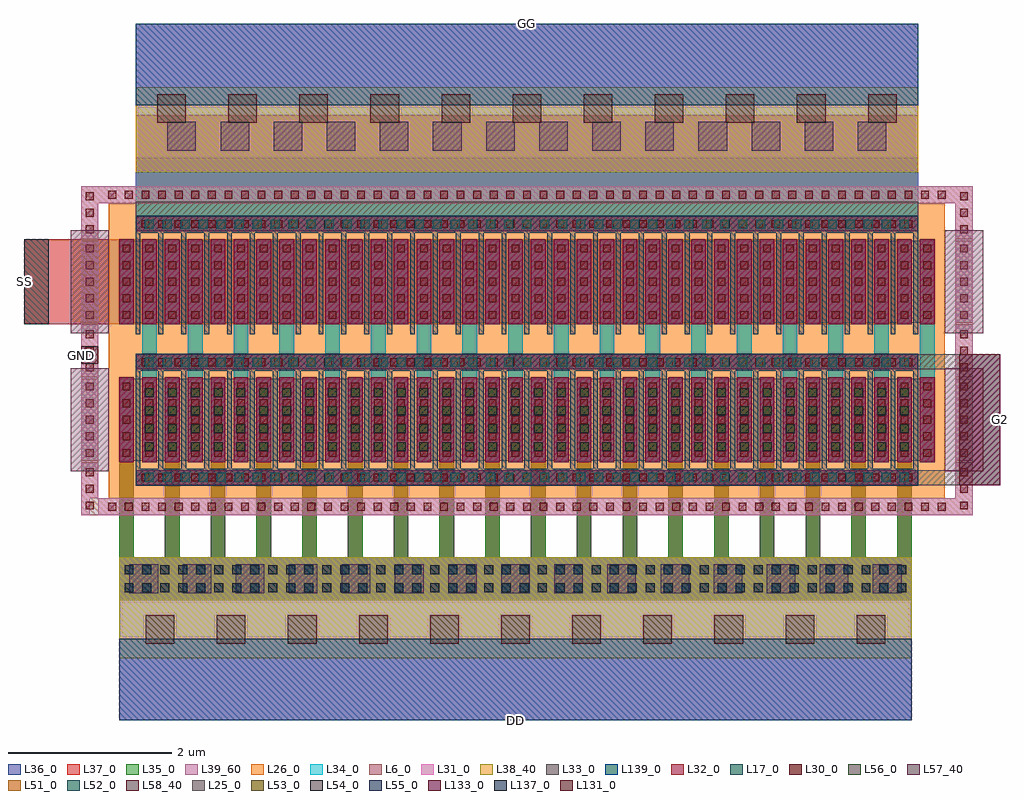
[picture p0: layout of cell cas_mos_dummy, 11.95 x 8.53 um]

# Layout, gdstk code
import gdstk
lib = gdstk.Library(unit=1e-6, precision=1e-09)
def R(c, l, rs):  # rectangles x0, y0, x1, y1
    for r in rs: c.add(gdstk.rectangle(r[:2], r[2:], *l))
def A(c, l, x, y, w, h, nx, ny, dx, dy):  # array of equal rectangles
    R(c, l, [(x+i*dx, y+j*dy, x+i*dx+w, y+j*dy+h) for i in range(nx) for j in range(ny)])
def P(c, l, *ps):  # polygons
    for p in ps: c.add(gdstk.Polygon(p, *l))
L6_0 = (6, 0)
L17_0 = (17, 0)
L25_0 = (25, 0)
L26_0 = (26, 0)
L30_0 = (30, 0)
L31_0 = (31, 0)
L32_0 = (32, 0)
L33_0 = (33, 0)
L34_0 = (34, 0)
L35_0 = (35, 0)
L36_0 = (36, 0)
L37_0 = (37, 0)
L38_40 = (38, 40)
L39_60 = (39, 60)
L51_0 = (51, 0)
L52_0 = (52, 0)
L53_0 = (53, 0)
L54_0 = (54, 0)
L55_0 = (55, 0)
L56_0 = (56, 0)
L57_40 = (57, 40)
L58_40 = (58, 40)
L131_0 = (131, 0)
L133_0 = (133, 0)
L137_0 = (137, 0)
L139_0 = (139, 0)

cas_mos_dummy = lib.new_cell('cas_mos_dummy')
R(cas_mos_dummy, L6_0, [(-0.47,-1.69,-0.26,-0.69), (0,-1.69,9.97,-0.69), (10.23,-1.69,10.44,-0.69), (-0.47,-0.67,-0.26,-0.02), (10.23,-0.67,10.44,-0.02), (-0.47,0,-0.26,1), (0,0,9.97,1), (10.23,0,10.44,1)])
P(cas_mos_dummy, L6_0, [(-0.26,-1.71),(-0.47,-1.71),(-0.47,-2.36),(10.44,-2.36),(10.44,-2.36),(10.44,-1.71),(10.23,-1.71),(10.23,-2.15),(-0.26,-2.15)],
  [(-0.47,1.02),(-0.26,1.02),(-0.26,1.46),(10.23,1.46),(10.23,1.02),(10.44,1.02),(10.44,1.67),(10.44,1.67),(-0.47,1.67)])
A(cas_mos_dummy, L17_0, 0.195, -1.79, 0.06, 1.2, 35, 1, 0.28, 0)
A(cas_mos_dummy, L17_0, 0.195, -0.14, 0.06, 1.24, 35, 1, 0.28, 0)
R(cas_mos_dummy, L17_0, [(0.195,-2,9.775,-1.79), (0.195,-0.59,9.775,-0.38), (0.195,1.1,9.775,1.31)])
R(cas_mos_dummy, L25_0, [(-0.6,-1.82,-0.13,-0.56), (10.1,-1.82,10.57,-0.56), (-0.6,-0.13,-0.13,1.13), (10.1,-0.13,10.57,1.13)])
R(cas_mos_dummy, L26_0, [(-0.13,-2.15,10.1,1.46)])
A(cas_mos_dummy, L30_0, -0.137, -2.302, 0.095, 0.095, 18, 1, 0.203, 0)
A(cas_mos_dummy, L30_0, 4.735, -2.302, 0.095, 0.095, 26, 1, 0.203, 0)
A(cas_mos_dummy, L30_0, -0.412, -2.285, 0.095, 0.095, 1, 3, 0, 0.203)
A(cas_mos_dummy, L30_0, 10.288, -2.285, 0.095, 0.095, 1, 3, 0, 0.203)
A(cas_mos_dummy, L30_0, 0.269, -1.942, 0.095, 0.094, 14, 2, 0.203, 3.1)
A(cas_mos_dummy, L30_0, 3.719, -1.942, 0.095, 0.094, 4, 2, 0.203, 3.1)
A(cas_mos_dummy, L30_0, 5.141, -1.942, 0.095, 0.094, 20, 2, 0.203, 3.1)
A(cas_mos_dummy, L30_0, -0.412, -1.643, 0.095, 0.095, 1, 5, 0, 0.203)
A(cas_mos_dummy, L30_0, 0.037, -1.643, 0.095, 0.095, 1, 5, 0, 0.203)
A(cas_mos_dummy, L30_0, 0.317, -1.643, 0.095, 0.095, 1, 5, 0, 0.203)
A(cas_mos_dummy, L30_0, 0.598, -1.643, 0.094, 0.095, 6, 5, 0.28, 0.203)
A(cas_mos_dummy, L30_0, 2.277, -1.643, 0.096, 0.095, 1, 5, 0, 0.203)
A(cas_mos_dummy, L30_0, 2.558, -1.643, 0.094, 0.095, 1, 5, 0, 0.203)
A(cas_mos_dummy, L30_0, 2.838, -1.643, 0.094, 0.095, 1, 5, 0, 0.203)
A(cas_mos_dummy, L30_0, 3.117, -1.643, 0.095, 0.095, 1, 5, 0, 0.203)
A(cas_mos_dummy, L30_0, 3.397, -1.643, 0.095, 0.095, 1, 5, 0, 0.203)
A(cas_mos_dummy, L30_0, 3.678, -1.643, 0.094, 0.095, 5, 5, 0.28, 0.203)
A(cas_mos_dummy, L30_0, 5.078, -1.643, 0.095, 0.095, 1, 5, 0, 0.203)
A(cas_mos_dummy, L30_0, 5.358, -1.643, 0.094, 0.095, 5, 5, 0.28, 0.203)
A(cas_mos_dummy, L30_0, 6.757, -1.643, 0.095, 0.095, 1, 5, 0, 0.203)
A(cas_mos_dummy, L30_0, 7.038, -1.643, 0.094, 0.095, 4, 5, 0.56, 0.203)
A(cas_mos_dummy, L30_0, 7.318, -1.643, 0.095, 0.095, 1, 5, 0, 0.203)
A(cas_mos_dummy, L30_0, 7.877, -1.643, 0.095, 0.095, 1, 5, 0, 0.203)
A(cas_mos_dummy, L30_0, 8.437, -1.643, 0.096, 0.095, 1, 5, 0, 0.203)
A(cas_mos_dummy, L30_0, 8.998, -1.643, 0.094, 0.095, 1, 5, 0, 0.203)
A(cas_mos_dummy, L30_0, 9.277, -1.643, 0.096, 0.095, 1, 5, 0, 0.203)
A(cas_mos_dummy, L30_0, 9.558, -1.643, 0.094, 0.095, 1, 5, 0, 0.203)
A(cas_mos_dummy, L30_0, 9.838, -1.643, 0.095, 0.095, 1, 5, 0, 0.203)
A(cas_mos_dummy, L30_0, 10.288, -1.643, 0.095, 0.095, 1, 5, 0, 0.203)
A(cas_mos_dummy, L30_0, -0.412, -0.595, 0.095, 0.095, 1, 3, 0, 0.203)
A(cas_mos_dummy, L30_0, 10.288, -0.595, 0.095, 0.095, 1, 3, 0, 0.203)
A(cas_mos_dummy, L30_0, 0.269, -0.532, 0.095, 0.095, 14, 1, 0.203, 0)
A(cas_mos_dummy, L30_0, 3.719, -0.532, 0.095, 0.095, 4, 1, 0.203, 0)
A(cas_mos_dummy, L30_0, 5.141, -0.532, 0.095, 0.095, 20, 1, 0.203, 0)
A(cas_mos_dummy, L30_0, -0.412, 0.046, 0.095, 0.095, 1, 5, 0, 0.203)
A(cas_mos_dummy, L30_0, 0.037, 0.046, 0.095, 0.095, 1, 5, 0, 0.203)
A(cas_mos_dummy, L30_0, 0.317, 0.046, 0.095, 0.095, 1, 5, 0, 0.203)
A(cas_mos_dummy, L30_0, 0.598, 0.046, 0.094, 0.095, 6, 5, 0.28, 0.203)
A(cas_mos_dummy, L30_0, 2.277, 0.046, 0.096, 0.095, 1, 5, 0, 0.203)
A(cas_mos_dummy, L30_0, 2.558, 0.046, 0.094, 0.095, 1, 5, 0, 0.203)
A(cas_mos_dummy, L30_0, 2.838, 0.046, 0.094, 0.095, 1, 5, 0, 0.203)
A(cas_mos_dummy, L30_0, 3.117, 0.046, 0.095, 0.095, 1, 5, 0, 0.203)
A(cas_mos_dummy, L30_0, 3.397, 0.046, 0.095, 0.095, 1, 5, 0, 0.203)
A(cas_mos_dummy, L30_0, 3.678, 0.046, 0.094, 0.095, 5, 5, 0.28, 0.203)
A(cas_mos_dummy, L30_0, 5.078, 0.046, 0.095, 0.095, 1, 5, 0, 0.203)
A(cas_mos_dummy, L30_0, 5.358, 0.046, 0.094, 0.095, 5, 5, 0.28, 0.203)
A(cas_mos_dummy, L30_0, 6.757, 0.046, 0.095, 0.095, 1, 5, 0, 0.203)
A(cas_mos_dummy, L30_0, 7.038, 0.046, 0.094, 0.095, 4, 5, 0.56, 0.203)
A(cas_mos_dummy, L30_0, 7.318, 0.046, 0.095, 0.095, 1, 5, 0, 0.203)
A(cas_mos_dummy, L30_0, 7.877, 0.046, 0.095, 0.095, 1, 5, 0, 0.203)
A(cas_mos_dummy, L30_0, 8.437, 0.046, 0.096, 0.095, 1, 5, 0, 0.203)
A(cas_mos_dummy, L30_0, 8.998, 0.046, 0.094, 0.095, 1, 5, 0, 0.203)
A(cas_mos_dummy, L30_0, 9.277, 0.046, 0.096, 0.095, 1, 5, 0, 0.203)
A(cas_mos_dummy, L30_0, 9.558, 0.046, 0.094, 0.095, 1, 5, 0, 0.203)
A(cas_mos_dummy, L30_0, 9.838, 0.046, 0.095, 0.095, 1, 5, 0, 0.203)
A(cas_mos_dummy, L30_0, 10.288, 0.046, 0.095, 0.095, 1, 5, 0, 0.203)
A(cas_mos_dummy, L30_0, -0.412, 1.094, 0.095, 0.095, 1, 3, 0, 0.203)
A(cas_mos_dummy, L30_0, 10.288, 1.094, 0.095, 0.095, 1, 3, 0, 0.203)
A(cas_mos_dummy, L30_0, -0.137, 1.518, 0.095, 0.094, 18, 1, 0.203, 0)
A(cas_mos_dummy, L30_0, 4.735, 1.518, 0.095, 0.094, 26, 1, 0.203, 0)
R(cas_mos_dummy, L30_0, [(3.516,-2.302,3.612,-2.207), (3.72,-2.302,3.815,-2.207), (3.922,-2.302,4.017,-2.207), (4.126,-2.302,4.22,-2.207), (4.328,-2.302,4.424,-2.207), (4.532,-2.302,4.626,-2.207), (10.012,-2.302,10.108,-2.207), (3.11,-1.942,3.206,-1.848), (3.314,-1.942,3.408,-1.848), (3.516,-1.942,3.612,-1.848), (4.532,-1.942,4.626,-1.848), (4.734,-1.942,4.83,-1.848), (4.938,-1.942,5.032,-1.848), (9.2,-1.942,9.296,-1.848), (9.404,-1.942,9.499,-1.848), (9.606,-1.942,9.702,-1.848), (3.11,-0.532,3.206,-0.437), (3.314,-0.532,3.408,-0.437), (3.516,-0.532,3.612,-0.437), (4.532,-0.532,4.626,-0.437), (4.734,-0.532,4.83,-0.437), (4.938,-0.532,5.032,-0.437), (9.2,-0.532,9.296,-0.437), (9.404,-0.532,9.499,-0.437), (9.606,-0.532,9.702,-0.437), (3.11,1.158,3.206,1.252), (3.314,1.158,3.408,1.252), (3.516,1.158,3.612,1.252), (4.532,1.158,4.626,1.252), (4.734,1.158,4.83,1.252), (4.938,1.158,5.032,1.252), (9.2,1.158,9.296,1.252), (9.404,1.158,9.499,1.252), (9.606,1.158,9.702,1.252), (3.516,1.518,3.612,1.612), (3.72,1.518,3.815,1.612), (3.922,1.518,4.017,1.612), (4.126,1.518,4.22,1.612), (4.328,1.518,4.424,1.612), (4.532,1.518,4.626,1.612), (10.012,1.518,10.108,1.612)])
A(cas_mos_dummy, L31_0, -0.005, -1.71, 0.18, 1.04, 36, 2, 0.28, 1.69)
R(cas_mos_dummy, L31_0, [(0.195,-1.99,9.775,-1.81), (0.195,-0.57,9.775,-0.39), (0.195,1.12,9.775,1.3)])
P(cas_mos_dummy, L31_0, [(-0.365,-2.15),(-0.365,-2.36),(10.44,-2.36),(10.44,-2.36),(10.44,1.67),(10.44,1.67),(-0.47,1.67),(-0.47,-2.36),(-0.26,-2.36),(-0.26,1.46),(10.23,1.46),(10.23,-2.15)])
A(cas_mos_dummy, L32_0, -0.005, -1.71, 0.18, 1.04, 36, 2, 0.28, 1.69)
R(cas_mos_dummy, L32_0, [(0.195,-1.99,9.775,-1.81), (0.195,-0.57,9.775,-0.39), (0.195,1.12,9.775,1.3)])
A(cas_mos_dummy, L33_0, -0.005, -1.71, 0.18, 1.04, 36, 2, 0.28, 1.69)
R(cas_mos_dummy, L33_0, [(0.195,-1.99,9.775,-1.81), (9.775,-1.99,10.275,-1.81), (10.275,-1.99,10.775,-0.39), (0.195,-0.57,9.775,-0.39), (9.775,-0.57,10.275,-0.39), (0.195,1.12,9.775,1.3), (0.195,1.3,9.775,1.48)])
A(cas_mos_dummy, L34_0, -0.005, -1.71, 0.18, 1.04, 36, 2, 0.28, 1.69)
R(cas_mos_dummy, L34_0, [(0.275,-0.67,0.455,-0.02), (0.275,-0.67,0.455,-0.02), (0.275,-0.67,0.455,-0.02), (0.275,-0.67,0.455,-0.02), (0.275,-0.67,0.455,-0.02), (0.835,-0.67,1.015,-0.02), (0.835,-0.67,1.015,-0.02), (0.835,-0.67,1.015,-0.02), (0.835,-0.67,1.015,-0.02), (0.835,-0.67,1.015,-0.02), (1.395,-0.67,1.575,-0.02), (1.395,-0.67,1.575,-0.02), (1.395,-0.67,1.575,-0.02), (1.395,-0.67,1.575,-0.02), (1.395,-0.67,1.575,-0.02), (1.955,-0.67,2.135,-0.02), (1.955,-0.67,2.135,-0.02), (1.955,-0.67,2.135,-0.02), (1.955,-0.67,2.135,-0.02), (1.955,-0.67,2.135,-0.02), (2.515,-0.67,2.695,-0.02), (2.515,-0.67,2.695,-0.02), (2.515,-0.67,2.695,-0.02), (2.515,-0.67,2.695,-0.02), (2.515,-0.67,2.695,-0.02), (3.075,-0.67,3.255,-0.02), (3.075,-0.67,3.255,-0.02), (3.075,-0.67,3.255,-0.02), (3.075,-0.67,3.255,-0.02), (3.075,-0.67,3.255,-0.02), (3.635,-0.67,3.815,-0.02), (3.635,-0.67,3.815,-0.02), (3.635,-0.67,3.815,-0.02), (3.635,-0.67,3.815,-0.02), (3.635,-0.67,3.815,-0.02), (4.195,-0.67,4.375,-0.02), (4.195,-0.67,4.375,-0.02), (4.195,-0.67,4.375,-0.02), (4.195,-0.67,4.375,-0.02), (4.195,-0.67,4.375,-0.02), (4.755,-0.67,4.935,-0.02), (4.755,-0.67,4.935,-0.02), (4.755,-0.67,4.935,-0.02), (4.755,-0.67,4.935,-0.02), (4.755,-0.67,4.935,-0.02), (5.315,-0.67,5.495,-0.02), (5.315,-0.67,5.495,-0.02), (5.315,-0.67,5.495,-0.02), (5.315,-0.67,5.495,-0.02), (5.315,-0.67,5.495,-0.02), (5.875,-0.67,6.055,-0.02), (5.875,-0.67,6.055,-0.02), (5.875,-0.67,6.055,-0.02), (5.875,-0.67,6.055,-0.02), (5.875,-0.67,6.055,-0.02), (6.435,-0.67,6.615,-0.02), (6.435,-0.67,6.615,-0.02), (6.435,-0.67,6.615,-0.02), (6.435,-0.67,6.615,-0.02), (6.435,-0.67,6.615,-0.02), (6.995,-0.67,7.175,-0.02), (6.995,-0.67,7.175,-0.02), (6.995,-0.67,7.175,-0.02), (6.995,-0.67,7.175,-0.02), (6.995,-0.67,7.175,-0.02), (7.555,-0.67,7.735,-0.02), (7.555,-0.67,7.735,-0.02), (7.555,-0.67,7.735,-0.02), (7.555,-0.67,7.735,-0.02), (7.555,-0.67,7.735,-0.02), (8.115,-0.67,8.295,-0.02), (8.115,-0.67,8.295,-0.02), (8.115,-0.67,8.295,-0.02), (8.115,-0.67,8.295,-0.02), (8.115,-0.67,8.295,-0.02), (8.675,-0.67,8.855,-0.02), (8.675,-0.67,8.855,-0.02), (8.675,-0.67,8.855,-0.02), (8.675,-0.67,8.855,-0.02), (8.675,-0.67,8.855,-0.02), (9.235,-0.67,9.415,-0.02), (9.235,-0.67,9.415,-0.02), (9.235,-0.67,9.415,-0.02), (9.235,-0.67,9.415,-0.02), (9.235,-0.67,9.415,-0.02), (9.795,-0.67,9.975,1.02), (0.195,1.3,9.775,1.66)])
A(cas_mos_dummy, L35_0, -0.005, -1.71, 0.18, 1.04, 36, 2, 0.28, 1.69)
R(cas_mos_dummy, L35_0, [(-0.005,-3.4,9.695,-2.87), (-0.005,-2.87,0.175,-1.71), (-0.005,-2.87,0.175,-1.71), (-0.005,-2.87,0.175,-1.71), (-0.005,-2.87,0.175,-1.71), (0.555,-2.87,0.735,-1.71), (0.555,-2.87,0.735,-1.71), (0.555,-2.87,0.735,-1.71), (0.555,-2.87,0.735,-1.71), (0.555,-2.87,0.735,-1.71), (1.115,-2.87,1.295,-1.71), (1.115,-2.87,1.295,-1.71), (1.115,-2.87,1.295,-1.71), (1.115,-2.87,1.295,-1.71), (1.115,-2.87,1.295,-1.71), (1.675,-2.87,1.855,-1.71), (1.675,-2.87,1.855,-1.71), (1.675,-2.87,1.855,-1.71), (1.675,-2.87,1.855,-1.71), (1.675,-2.87,1.855,-1.71), (2.235,-2.87,2.415,-1.71), (2.235,-2.87,2.415,-1.71), (2.235,-2.87,2.415,-1.71), (2.235,-2.87,2.415,-1.71), (2.235,-2.87,2.415,-1.71), (2.795,-2.87,2.975,-1.71), (2.795,-2.87,2.975,-1.71), (2.795,-2.87,2.975,-1.71), (2.795,-2.87,2.975,-1.71), (2.795,-2.87,2.975,-1.71), (3.355,-2.87,3.535,-1.71), (3.355,-2.87,3.535,-1.71), (3.355,-2.87,3.535,-1.71), (3.355,-2.87,3.535,-1.71), (3.355,-2.87,3.535,-1.71), (3.915,-2.87,4.095,-1.71), (3.915,-2.87,4.095,-1.71), (3.915,-2.87,4.095,-1.71), (3.915,-2.87,4.095,-1.71), (3.915,-2.87,4.095,-1.71), (4.475,-2.87,4.655,-1.71), (4.475,-2.87,4.655,-1.71), (4.475,-2.87,4.655,-1.71), (4.475,-2.87,4.655,-1.71), (4.475,-2.87,4.655,-1.71), (5.035,-2.87,5.215,-1.71), (5.035,-2.87,5.215,-1.71), (5.035,-2.87,5.215,-1.71), (5.035,-2.87,5.215,-1.71), (5.035,-2.87,5.215,-1.71), (5.595,-2.87,5.775,-1.71), (5.595,-2.87,5.775,-1.71), (5.595,-2.87,5.775,-1.71), (5.595,-2.87,5.775,-1.71), (5.595,-2.87,5.775,-1.71), (6.155,-2.87,6.335,-1.71), (6.155,-2.87,6.335,-1.71), (6.155,-2.87,6.335,-1.71), (6.155,-2.87,6.335,-1.71), (6.155,-2.87,6.335,-1.71), (6.715,-2.87,6.895,-1.71), (6.715,-2.87,6.895,-1.71), (6.715,-2.87,6.895,-1.71), (6.715,-2.87,6.895,-1.71), (6.715,-2.87,6.895,-1.71), (7.275,-2.87,7.455,-1.71), (7.275,-2.87,7.455,-1.71), (7.275,-2.87,7.455,-1.71), (7.275,-2.87,7.455,-1.71), (7.275,-2.87,7.455,-1.71), (7.835,-2.87,8.015,-1.71), (7.835,-2.87,8.015,-1.71), (7.835,-2.87,8.015,-1.71), (7.835,-2.87,8.015,-1.71), (7.835,-2.87,8.015,-1.71), (8.395,-2.87,8.575,-1.71), (8.395,-2.87,8.575,-1.71), (8.395,-2.87,8.575,-1.71), (8.395,-2.87,8.575,-1.71), (8.395,-2.87,8.575,-1.71), (8.955,-2.87,9.135,-1.71), (8.955,-2.87,9.135,-1.71), (8.955,-2.87,9.135,-1.71), (8.955,-2.87,9.135,-1.71), (8.955,-2.87,9.135,-1.71), (9.515,-2.87,9.695,-1.71), (9.515,-2.87,9.695,-1.71), (9.515,-2.87,9.695,-1.71), (9.515,-2.87,9.695,-1.71), (9.515,-2.87,9.695,-1.71), (-0.005,-2.36,0.175,-1.71), (9.795,-1.71,9.975,-0.67), (9.795,-1.71,9.975,-0.67), (9.795,-1.71,9.975,-0.67), (9.795,-1.71,9.975,-0.67), (9.795,-1.71,9.975,-0.67), (0.275,-0.67,0.455,-0.02), (0.275,-0.67,0.455,-0.02), (0.275,-0.67,0.455,-0.02), (0.275,-0.67,0.455,-0.02), (0.275,-0.67,0.455,-0.02), (0.835,-0.67,1.015,-0.02), (0.835,-0.67,1.015,-0.02), (0.835,-0.67,1.015,-0.02), (0.835,-0.67,1.015,-0.02), (0.835,-0.67,1.015,-0.02), (1.395,-0.67,1.575,-0.02), (1.395,-0.67,1.575,-0.02), (1.395,-0.67,1.575,-0.02), (1.395,-0.67,1.575,-0.02), (1.395,-0.67,1.575,-0.02), (1.955,-0.67,2.135,-0.02), (1.955,-0.67,2.135,-0.02), (1.955,-0.67,2.135,-0.02), (1.955,-0.67,2.135,-0.02), (1.955,-0.67,2.135,-0.02), (2.515,-0.67,2.695,-0.02), (2.515,-0.67,2.695,-0.02), (2.515,-0.67,2.695,-0.02), (2.515,-0.67,2.695,-0.02), (2.515,-0.67,2.695,-0.02), (3.075,-0.67,3.255,-0.02), (3.075,-0.67,3.255,-0.02), (3.075,-0.67,3.255,-0.02), (3.075,-0.67,3.255,-0.02), (3.075,-0.67,3.255,-0.02), (3.635,-0.67,3.815,-0.02), (3.635,-0.67,3.815,-0.02), (3.635,-0.67,3.815,-0.02), (3.635,-0.67,3.815,-0.02), (3.635,-0.67,3.815,-0.02), (4.195,-0.67,4.375,-0.02), (4.195,-0.67,4.375,-0.02), (4.195,-0.67,4.375,-0.02), (4.195,-0.67,4.375,-0.02), (4.195,-0.67,4.375,-0.02), (4.755,-0.67,4.935,-0.02), (4.755,-0.67,4.935,-0.02), (4.755,-0.67,4.935,-0.02), (4.755,-0.67,4.935,-0.02), (4.755,-0.67,4.935,-0.02), (5.315,-0.67,5.495,-0.02), (5.315,-0.67,5.495,-0.02), (5.315,-0.67,5.495,-0.02), (5.315,-0.67,5.495,-0.02), (5.315,-0.67,5.495,-0.02), (5.875,-0.67,6.055,-0.02), (5.875,-0.67,6.055,-0.02), (5.875,-0.67,6.055,-0.02), (5.875,-0.67,6.055,-0.02), (5.875,-0.67,6.055,-0.02), (6.435,-0.67,6.615,-0.02), (6.435,-0.67,6.615,-0.02), (6.435,-0.67,6.615,-0.02), (6.435,-0.67,6.615,-0.02), (6.435,-0.67,6.615,-0.02), (6.995,-0.67,7.175,-0.02), (6.995,-0.67,7.175,-0.02), (6.995,-0.67,7.175,-0.02), (6.995,-0.67,7.175,-0.02), (6.995,-0.67,7.175,-0.02), (7.555,-0.67,7.735,-0.02), (7.555,-0.67,7.735,-0.02), (7.555,-0.67,7.735,-0.02), (7.555,-0.67,7.735,-0.02), (7.555,-0.67,7.735,-0.02), (8.115,-0.67,8.295,-0.02), (8.115,-0.67,8.295,-0.02), (8.115,-0.67,8.295,-0.02), (8.115,-0.67,8.295,-0.02), (8.115,-0.67,8.295,-0.02), (8.675,-0.67,8.855,-0.02), (8.675,-0.67,8.855,-0.02), (8.675,-0.67,8.855,-0.02), (8.675,-0.67,8.855,-0.02), (8.675,-0.67,8.855,-0.02), (9.235,-0.67,9.415,-0.02), (9.235,-0.67,9.415,-0.02), (9.235,-0.67,9.415,-0.02), (9.235,-0.67,9.415,-0.02), (9.235,-0.67,9.415,-0.02), (9.795,-0.67,9.975,1.02), (0.195,1.48,9.775,1.84)])
R(cas_mos_dummy, L36_0, [(-0.005,-3.4,9.695,-2.87), (-0.005,-2.87,0.175,-1.71), (-0.005,-2.87,0.175,-1.71), (-0.005,-2.87,0.175,-1.71), (-0.005,-2.87,0.175,-1.71), (0.555,-2.87,0.735,-1.71), (0.555,-2.87,0.735,-1.71), (0.555,-2.87,0.735,-1.71), (0.555,-2.87,0.735,-1.71), (0.555,-2.87,0.735,-1.71), (1.115,-2.87,1.295,-1.71), (1.115,-2.87,1.295,-1.71), (1.115,-2.87,1.295,-1.71), (1.115,-2.87,1.295,-1.71), (1.115,-2.87,1.295,-1.71), (1.675,-2.87,1.855,-1.71), (1.675,-2.87,1.855,-1.71), (1.675,-2.87,1.855,-1.71), (1.675,-2.87,1.855,-1.71), (1.675,-2.87,1.855,-1.71), (2.235,-2.87,2.415,-1.71), (2.235,-2.87,2.415,-1.71), (2.235,-2.87,2.415,-1.71), (2.235,-2.87,2.415,-1.71), (2.235,-2.87,2.415,-1.71), (2.795,-2.87,2.975,-1.71), (2.795,-2.87,2.975,-1.71), (2.795,-2.87,2.975,-1.71), (2.795,-2.87,2.975,-1.71), (2.795,-2.87,2.975,-1.71), (3.355,-2.87,3.535,-1.71), (3.355,-2.87,3.535,-1.71), (3.355,-2.87,3.535,-1.71), (3.355,-2.87,3.535,-1.71), (3.355,-2.87,3.535,-1.71), (3.915,-2.87,4.095,-1.71), (3.915,-2.87,4.095,-1.71), (3.915,-2.87,4.095,-1.71), (3.915,-2.87,4.095,-1.71), (3.915,-2.87,4.095,-1.71), (4.475,-2.87,4.655,-1.71), (4.475,-2.87,4.655,-1.71), (4.475,-2.87,4.655,-1.71), (4.475,-2.87,4.655,-1.71), (4.475,-2.87,4.655,-1.71), (5.035,-2.87,5.215,-1.71), (5.035,-2.87,5.215,-1.71), (5.035,-2.87,5.215,-1.71), (5.035,-2.87,5.215,-1.71), (5.035,-2.87,5.215,-1.71), (5.595,-2.87,5.775,-1.71), (5.595,-2.87,5.775,-1.71), (5.595,-2.87,5.775,-1.71), (5.595,-2.87,5.775,-1.71), (5.595,-2.87,5.775,-1.71), (6.155,-2.87,6.335,-1.71), (6.155,-2.87,6.335,-1.71), (6.155,-2.87,6.335,-1.71), (6.155,-2.87,6.335,-1.71), (6.155,-2.87,6.335,-1.71), (6.715,-2.87,6.895,-1.71), (6.715,-2.87,6.895,-1.71), (6.715,-2.87,6.895,-1.71), (6.715,-2.87,6.895,-1.71), (6.715,-2.87,6.895,-1.71), (7.275,-2.87,7.455,-1.71), (7.275,-2.87,7.455,-1.71), (7.275,-2.87,7.455,-1.71), (7.275,-2.87,7.455,-1.71), (7.275,-2.87,7.455,-1.71), (7.835,-2.87,8.015,-1.71), (7.835,-2.87,8.015,-1.71), (7.835,-2.87,8.015,-1.71), (7.835,-2.87,8.015,-1.71), (7.835,-2.87,8.015,-1.71), (8.395,-2.87,8.575,-1.71), (8.395,-2.87,8.575,-1.71), (8.395,-2.87,8.575,-1.71), (8.395,-2.87,8.575,-1.71), (8.395,-2.87,8.575,-1.71), (8.955,-2.87,9.135,-1.71), (8.955,-2.87,9.135,-1.71), (8.955,-2.87,9.135,-1.71), (8.955,-2.87,9.135,-1.71), (8.955,-2.87,9.135,-1.71), (9.515,-2.87,9.695,-1.71), (9.515,-2.87,9.695,-1.71), (9.515,-2.87,9.695,-1.71), (9.515,-2.87,9.695,-1.71), (9.515,-2.87,9.695,-1.71), (-0.005,-2.36,0.175,-1.71), (-0.005,-1.71,0.175,-0.67), (-0.005,-1.71,0.175,-0.67), (-0.005,-1.71,0.175,-0.67), (-0.005,-1.71,0.175,-0.67), (-0.005,-1.71,0.175,-0.67), (0.555,-1.71,0.735,-0.67), (0.555,-1.71,0.735,-0.67), (0.555,-1.71,0.735,-0.67), (0.555,-1.71,0.735,-0.67), (0.555,-1.71,0.735,-0.67), (1.115,-1.71,1.295,-0.67), (1.115,-1.71,1.295,-0.67), (1.115,-1.71,1.295,-0.67), (1.115,-1.71,1.295,-0.67), (1.115,-1.71,1.295,-0.67), (1.675,-1.71,1.855,-0.67), (1.675,-1.71,1.855,-0.67), (1.675,-1.71,1.855,-0.67), (1.675,-1.71,1.855,-0.67), (1.675,-1.71,1.855,-0.67), (2.235,-1.71,2.415,-0.67), (2.235,-1.71,2.415,-0.67), (2.235,-1.71,2.415,-0.67), (2.235,-1.71,2.415,-0.67), (2.235,-1.71,2.415,-0.67), (2.795,-1.71,2.975,-0.67), (2.795,-1.71,2.975,-0.67), (2.795,-1.71,2.975,-0.67), (2.795,-1.71,2.975,-0.67), (2.795,-1.71,2.975,-0.67), (3.355,-1.71,3.535,-0.67), (3.355,-1.71,3.535,-0.67), (3.355,-1.71,3.535,-0.67), (3.355,-1.71,3.535,-0.67), (3.355,-1.71,3.535,-0.67), (3.915,-1.71,4.095,-0.67), (3.915,-1.71,4.095,-0.67), (3.915,-1.71,4.095,-0.67), (3.915,-1.71,4.095,-0.67), (3.915,-1.71,4.095,-0.67), (4.475,-1.71,4.655,-0.67), (4.475,-1.71,4.655,-0.67), (4.475,-1.71,4.655,-0.67), (4.475,-1.71,4.655,-0.67), (4.475,-1.71,4.655,-0.67), (5.035,-1.71,5.215,-0.67), (5.035,-1.71,5.215,-0.67), (5.035,-1.71,5.215,-0.67), (5.035,-1.71,5.215,-0.67), (5.035,-1.71,5.215,-0.67), (5.595,-1.71,5.775,-0.67), (5.595,-1.71,5.775,-0.67), (5.595,-1.71,5.775,-0.67), (5.595,-1.71,5.775,-0.67), (5.595,-1.71,5.775,-0.67), (6.155,-1.71,6.335,-0.67), (6.155,-1.71,6.335,-0.67), (6.155,-1.71,6.335,-0.67), (6.155,-1.71,6.335,-0.67), (6.155,-1.71,6.335,-0.67), (6.715,-1.71,6.895,-0.67), (6.715,-1.71,6.895,-0.67), (6.715,-1.71,6.895,-0.67), (6.715,-1.71,6.895,-0.67), (6.715,-1.71,6.895,-0.67), (7.275,-1.71,7.455,-0.67), (7.275,-1.71,7.455,-0.67), (7.275,-1.71,7.455,-0.67), (7.275,-1.71,7.455,-0.67), (7.275,-1.71,7.455,-0.67), (7.835,-1.71,8.015,-0.67), (7.835,-1.71,8.015,-0.67), (7.835,-1.71,8.015,-0.67), (7.835,-1.71,8.015,-0.67), (7.835,-1.71,8.015,-0.67), (8.395,-1.71,8.575,-0.67), (8.395,-1.71,8.575,-0.67), (8.395,-1.71,8.575,-0.67), (8.395,-1.71,8.575,-0.67), (8.395,-1.71,8.575,-0.67), (8.955,-1.71,9.135,-0.67), (8.955,-1.71,9.135,-0.67), (8.955,-1.71,9.135,-0.67), (8.955,-1.71,9.135,-0.67), (8.955,-1.71,9.135,-0.67), (9.515,-1.71,9.695,-0.67), (9.515,-1.71,9.695,-0.67), (9.515,-1.71,9.695,-0.67), (9.515,-1.71,9.695,-0.67), (9.515,-1.71,9.695,-0.67), (-0.005,-0.02,0.175,1.02), (0.555,-0.02,0.735,1.02), (0.555,-0.02,0.735,1.02), (0.555,-0.02,0.735,1.02), (0.555,-0.02,0.735,1.02), (0.555,-0.02,0.735,1.02), (1.115,-0.02,1.295,1.02), (1.115,-0.02,1.295,1.02), (1.115,-0.02,1.295,1.02), (1.115,-0.02,1.295,1.02), (1.115,-0.02,1.295,1.02), (1.675,-0.02,1.855,1.02), (1.675,-0.02,1.855,1.02), (1.675,-0.02,1.855,1.02), (1.675,-0.02,1.855,1.02), (1.675,-0.02,1.855,1.02), (2.235,-0.02,2.415,1.02), (2.235,-0.02,2.415,1.02), (2.235,-0.02,2.415,1.02), (2.235,-0.02,2.415,1.02), (2.235,-0.02,2.415,1.02), (2.795,-0.02,2.975,1.02), (2.795,-0.02,2.975,1.02), (2.795,-0.02,2.975,1.02), (2.795,-0.02,2.975,1.02), (2.795,-0.02,2.975,1.02), (3.355,-0.02,3.535,1.02), (3.355,-0.02,3.535,1.02), (3.355,-0.02,3.535,1.02), (3.355,-0.02,3.535,1.02), (3.355,-0.02,3.535,1.02), (3.915,-0.02,4.095,1.02), (3.915,-0.02,4.095,1.02), (3.915,-0.02,4.095,1.02), (3.915,-0.02,4.095,1.02), (3.915,-0.02,4.095,1.02), (4.475,-0.02,4.655,1.02), (4.475,-0.02,4.655,1.02), (4.475,-0.02,4.655,1.02), (4.475,-0.02,4.655,1.02), (4.475,-0.02,4.655,1.02), (5.035,-0.02,5.215,1.02), (5.035,-0.02,5.215,1.02), (5.035,-0.02,5.215,1.02), (5.035,-0.02,5.215,1.02), (5.035,-0.02,5.215,1.02), (5.595,-0.02,5.775,1.02), (5.595,-0.02,5.775,1.02), (5.595,-0.02,5.775,1.02), (5.595,-0.02,5.775,1.02), (5.595,-0.02,5.775,1.02), (6.155,-0.02,6.335,1.02), (6.155,-0.02,6.335,1.02), (6.155,-0.02,6.335,1.02), (6.155,-0.02,6.335,1.02), (6.155,-0.02,6.335,1.02), (6.715,-0.02,6.895,1.02), (6.715,-0.02,6.895,1.02), (6.715,-0.02,6.895,1.02), (6.715,-0.02,6.895,1.02), (6.715,-0.02,6.895,1.02), (7.275,-0.02,7.455,1.02), (7.275,-0.02,7.455,1.02), (7.275,-0.02,7.455,1.02), (7.275,-0.02,7.455,1.02), (7.275,-0.02,7.455,1.02), (7.835,-0.02,8.015,1.02), (7.835,-0.02,8.015,1.02), (7.835,-0.02,8.015,1.02), (7.835,-0.02,8.015,1.02), (7.835,-0.02,8.015,1.02), (8.395,-0.02,8.575,1.02), (8.395,-0.02,8.575,1.02), (8.395,-0.02,8.575,1.02), (8.395,-0.02,8.575,1.02), (8.395,-0.02,8.575,1.02), (8.955,-0.02,9.135,1.02), (8.955,-0.02,9.135,1.02), (8.955,-0.02,9.135,1.02), (8.955,-0.02,9.135,1.02), (8.955,-0.02,9.135,1.02), (9.515,-0.02,9.695,1.02), (9.515,-0.02,9.695,1.02), (9.515,-0.02,9.695,1.02), (9.515,-0.02,9.695,1.02), (9.515,-0.02,9.695,1.02), (0.195,1.66,9.775,2.02)])
R(cas_mos_dummy, L37_0, [(-0.005,-3.4,9.695,-2.87), (-0.005,-2.87,0.175,-1.71), (-0.005,-2.87,0.175,-1.71), (-0.005,-2.87,0.175,-1.71), (-0.005,-2.87,0.175,-1.71), (0.555,-2.87,0.735,-1.71), (0.555,-2.87,0.735,-1.71), (0.555,-2.87,0.735,-1.71), (0.555,-2.87,0.735,-1.71), (0.555,-2.87,0.735,-1.71), (1.115,-2.87,1.295,-1.71), (1.115,-2.87,1.295,-1.71), (1.115,-2.87,1.295,-1.71), (1.115,-2.87,1.295,-1.71), (1.115,-2.87,1.295,-1.71), (1.675,-2.87,1.855,-1.71), (1.675,-2.87,1.855,-1.71), (1.675,-2.87,1.855,-1.71), (1.675,-2.87,1.855,-1.71), (1.675,-2.87,1.855,-1.71), (2.235,-2.87,2.415,-1.71), (2.235,-2.87,2.415,-1.71), (2.235,-2.87,2.415,-1.71), (2.235,-2.87,2.415,-1.71), (2.235,-2.87,2.415,-1.71), (2.795,-2.87,2.975,-1.71), (2.795,-2.87,2.975,-1.71), (2.795,-2.87,2.975,-1.71), (2.795,-2.87,2.975,-1.71), (2.795,-2.87,2.975,-1.71), (3.355,-2.87,3.535,-1.71), (3.355,-2.87,3.535,-1.71), (3.355,-2.87,3.535,-1.71), (3.355,-2.87,3.535,-1.71), (3.355,-2.87,3.535,-1.71), (3.915,-2.87,4.095,-1.71), (3.915,-2.87,4.095,-1.71), (3.915,-2.87,4.095,-1.71), (3.915,-2.87,4.095,-1.71), (3.915,-2.87,4.095,-1.71), (4.475,-2.87,4.655,-1.71), (4.475,-2.87,4.655,-1.71), (4.475,-2.87,4.655,-1.71), (4.475,-2.87,4.655,-1.71), (4.475,-2.87,4.655,-1.71), (5.035,-2.87,5.215,-1.71), (5.035,-2.87,5.215,-1.71), (5.035,-2.87,5.215,-1.71), (5.035,-2.87,5.215,-1.71), (5.035,-2.87,5.215,-1.71), (5.595,-2.87,5.775,-1.71), (5.595,-2.87,5.775,-1.71), (5.595,-2.87,5.775,-1.71), (5.595,-2.87,5.775,-1.71), (5.595,-2.87,5.775,-1.71), (6.155,-2.87,6.335,-1.71), (6.155,-2.87,6.335,-1.71), (6.155,-2.87,6.335,-1.71), (6.155,-2.87,6.335,-1.71), (6.155,-2.87,6.335,-1.71), (6.715,-2.87,6.895,-1.71), (6.715,-2.87,6.895,-1.71), (6.715,-2.87,6.895,-1.71), (6.715,-2.87,6.895,-1.71), (6.715,-2.87,6.895,-1.71), (7.275,-2.87,7.455,-1.71), (7.275,-2.87,7.455,-1.71), (7.275,-2.87,7.455,-1.71), (7.275,-2.87,7.455,-1.71), (7.275,-2.87,7.455,-1.71), (7.835,-2.87,8.015,-1.71), (7.835,-2.87,8.015,-1.71), (7.835,-2.87,8.015,-1.71), (7.835,-2.87,8.015,-1.71), (7.835,-2.87,8.015,-1.71), (8.395,-2.87,8.575,-1.71), (8.395,-2.87,8.575,-1.71), (8.395,-2.87,8.575,-1.71), (8.395,-2.87,8.575,-1.71), (8.395,-2.87,8.575,-1.71), (8.955,-2.87,9.135,-1.71), (8.955,-2.87,9.135,-1.71), (8.955,-2.87,9.135,-1.71), (8.955,-2.87,9.135,-1.71), (8.955,-2.87,9.135,-1.71), (9.515,-2.87,9.695,-1.71), (9.515,-2.87,9.695,-1.71), (9.515,-2.87,9.695,-1.71), (9.515,-2.87,9.695,-1.71), (9.515,-2.87,9.695,-1.71), (-0.005,-2.36,0.175,-1.71), (-0.005,-1.71,0.175,-0.67), (-0.005,-1.71,0.175,-0.67), (-0.005,-1.71,0.175,-0.67), (-0.005,-1.71,0.175,-0.67), (-0.005,-1.71,0.175,-0.67), (0.555,-1.71,0.735,-0.67), (0.555,-1.71,0.735,-0.67), (0.555,-1.71,0.735,-0.67), (0.555,-1.71,0.735,-0.67), (0.555,-1.71,0.735,-0.67), (1.115,-1.71,1.295,-0.67), (1.115,-1.71,1.295,-0.67), (1.115,-1.71,1.295,-0.67), (1.115,-1.71,1.295,-0.67), (1.115,-1.71,1.295,-0.67), (1.675,-1.71,1.855,-0.67), (1.675,-1.71,1.855,-0.67), (1.675,-1.71,1.855,-0.67), (1.675,-1.71,1.855,-0.67), (1.675,-1.71,1.855,-0.67), (2.235,-1.71,2.415,-0.67), (2.235,-1.71,2.415,-0.67), (2.235,-1.71,2.415,-0.67), (2.235,-1.71,2.415,-0.67), (2.235,-1.71,2.415,-0.67), (2.795,-1.71,2.975,-0.67), (2.795,-1.71,2.975,-0.67), (2.795,-1.71,2.975,-0.67), (2.795,-1.71,2.975,-0.67), (2.795,-1.71,2.975,-0.67), (3.355,-1.71,3.535,-0.67), (3.355,-1.71,3.535,-0.67), (3.355,-1.71,3.535,-0.67), (3.355,-1.71,3.535,-0.67), (3.355,-1.71,3.535,-0.67), (3.915,-1.71,4.095,-0.67), (3.915,-1.71,4.095,-0.67), (3.915,-1.71,4.095,-0.67), (3.915,-1.71,4.095,-0.67), (3.915,-1.71,4.095,-0.67), (4.475,-1.71,4.655,-0.67), (4.475,-1.71,4.655,-0.67), (4.475,-1.71,4.655,-0.67), (4.475,-1.71,4.655,-0.67), (4.475,-1.71,4.655,-0.67), (5.035,-1.71,5.215,-0.67), (5.035,-1.71,5.215,-0.67), (5.035,-1.71,5.215,-0.67), (5.035,-1.71,5.215,-0.67), (5.035,-1.71,5.215,-0.67), (5.595,-1.71,5.775,-0.67), (5.595,-1.71,5.775,-0.67), (5.595,-1.71,5.775,-0.67), (5.595,-1.71,5.775,-0.67), (5.595,-1.71,5.775,-0.67), (6.155,-1.71,6.335,-0.67), (6.155,-1.71,6.335,-0.67), (6.155,-1.71,6.335,-0.67), (6.155,-1.71,6.335,-0.67), (6.155,-1.71,6.335,-0.67), (6.715,-1.71,6.895,-0.67), (6.715,-1.71,6.895,-0.67), (6.715,-1.71,6.895,-0.67), (6.715,-1.71,6.895,-0.67), (6.715,-1.71,6.895,-0.67), (7.275,-1.71,7.455,-0.67), (7.275,-1.71,7.455,-0.67), (7.275,-1.71,7.455,-0.67), (7.275,-1.71,7.455,-0.67), (7.275,-1.71,7.455,-0.67), (7.835,-1.71,8.015,-0.67), (7.835,-1.71,8.015,-0.67), (7.835,-1.71,8.015,-0.67), (7.835,-1.71,8.015,-0.67), (7.835,-1.71,8.015,-0.67), (8.395,-1.71,8.575,-0.67), (8.395,-1.71,8.575,-0.67), (8.395,-1.71,8.575,-0.67), (8.395,-1.71,8.575,-0.67), (8.395,-1.71,8.575,-0.67), (8.955,-1.71,9.135,-0.67), (8.955,-1.71,9.135,-0.67), (8.955,-1.71,9.135,-0.67), (8.955,-1.71,9.135,-0.67), (8.955,-1.71,9.135,-0.67), (9.515,-1.71,9.695,-0.67), (9.515,-1.71,9.695,-0.67), (9.515,-1.71,9.695,-0.67), (9.515,-1.71,9.695,-0.67), (9.515,-1.71,9.695,-0.67), (-1.17,-0.02,9.695,1.02), (0.195,1.84,9.775,2.54)])
R(cas_mos_dummy, L38_40, [(-0.005,-4.11,9.695,-2.87), (0.195,1.84,9.775,2.88)])
R(cas_mos_dummy, L39_60, [(-0.005,-4.87,9.695,-2.87), (0.195,1.66,9.775,3.66)])
A(cas_mos_dummy, L51_0, 0.31, -1.95, 0.11, 0.11, 43, 2, 0.22, 1.41)
A(cas_mos_dummy, L51_0, 0.31, -1.575, 0.11, 0.11, 34, 4, 0.28, 0.22)
A(cas_mos_dummy, L51_0, 0.31, 1.15, 0.11, 0.11, 43, 1, 0.22, 0)
A(cas_mos_dummy, L52_0, 0.31, -1.95, 0.11, 0.11, 43, 2, 0.22, 1.41)
A(cas_mos_dummy, L52_0, 0.31, -1.575, 0.11, 0.11, 34, 4, 0.28, 0.22)
A(cas_mos_dummy, L52_0, 0.31, 1.15, 0.11, 0.11, 43, 1, 0.22, 0)
A(cas_mos_dummy, L53_0, 0.31, -1.575, 0.11, 0.11, 34, 4, 0.28, 0.22)
A(cas_mos_dummy, L54_0, 0.31, -1.575, 0.11, 0.11, 34, 4, 0.28, 0.22)
A(cas_mos_dummy, L55_0, 0.06, -3.3, 0.11, 0.11, 44, 2, 0.22, 0.22)
A(cas_mos_dummy, L56_0, 0.06, -3.3, 0.11, 0.11, 44, 2, 0.22, 0.22)
R(cas_mos_dummy, L56_0, [(0.59,-1.575,0.7,-1.465), (0.59,-1.575,0.7,-1.465), (0.59,-1.575,0.7,-1.465), (0.59,-1.575,0.7,-1.465), (0.59,-1.575,0.7,-1.465), (1.15,-1.575,1.26,-1.465), (1.15,-1.575,1.26,-1.465), (1.15,-1.575,1.26,-1.465), (1.15,-1.575,1.26,-1.465), (1.15,-1.575,1.26,-1.465), (1.71,-1.575,1.82,-1.465), (1.71,-1.575,1.82,-1.465), (1.71,-1.575,1.82,-1.465), (1.71,-1.575,1.82,-1.465), (1.71,-1.575,1.82,-1.465), (2.27,-1.575,2.38,-1.465), (2.27,-1.575,2.38,-1.465), (2.27,-1.575,2.38,-1.465), (2.27,-1.575,2.38,-1.465), (2.27,-1.575,2.38,-1.465), (2.83,-1.575,2.94,-1.465), (2.83,-1.575,2.94,-1.465), (2.83,-1.575,2.94,-1.465), (2.83,-1.575,2.94,-1.465), (2.83,-1.575,2.94,-1.465), (3.39,-1.575,3.5,-1.465), (3.39,-1.575,3.5,-1.465), (3.39,-1.575,3.5,-1.465), (3.39,-1.575,3.5,-1.465), (3.39,-1.575,3.5,-1.465), (3.95,-1.575,4.06,-1.465), (3.95,-1.575,4.06,-1.465), (3.95,-1.575,4.06,-1.465), (3.95,-1.575,4.06,-1.465), (3.95,-1.575,4.06,-1.465), (4.51,-1.575,4.62,-1.465), (4.51,-1.575,4.62,-1.465), (4.51,-1.575,4.62,-1.465), (4.51,-1.575,4.62,-1.465), (4.51,-1.575,4.62,-1.465), (5.07,-1.575,5.18,-1.465), (5.07,-1.575,5.18,-1.465), (5.07,-1.575,5.18,-1.465), (5.07,-1.575,5.18,-1.465), (5.07,-1.575,5.18,-1.465), (5.63,-1.575,5.74,-1.465), (5.63,-1.575,5.74,-1.465), (5.63,-1.575,5.74,-1.465), (5.63,-1.575,5.74,-1.465), (5.63,-1.575,5.74,-1.465), (6.19,-1.575,6.3,-1.465), (6.19,-1.575,6.3,-1.465), (6.19,-1.575,6.3,-1.465), (6.19,-1.575,6.3,-1.465), (6.19,-1.575,6.3,-1.465), (6.75,-1.575,6.86,-1.465), (6.75,-1.575,6.86,-1.465), (6.75,-1.575,6.86,-1.465), (6.75,-1.575,6.86,-1.465), (6.75,-1.575,6.86,-1.465), (7.31,-1.575,7.42,-1.465), (7.31,-1.575,7.42,-1.465), (7.31,-1.575,7.42,-1.465), (7.31,-1.575,7.42,-1.465), (7.31,-1.575,7.42,-1.465), (7.87,-1.575,7.98,-1.465), (7.87,-1.575,7.98,-1.465), (7.87,-1.575,7.98,-1.465), (7.87,-1.575,7.98,-1.465), (7.87,-1.575,7.98,-1.465), (8.43,-1.575,8.54,-1.465), (8.43,-1.575,8.54,-1.465), (8.43,-1.575,8.54,-1.465), (8.43,-1.575,8.54,-1.465), (8.43,-1.575,8.54,-1.465), (8.99,-1.575,9.1,-1.465), (8.99,-1.575,9.1,-1.465), (8.99,-1.575,9.1,-1.465), (8.99,-1.575,9.1,-1.465), (8.99,-1.575,9.1,-1.465), (9.55,-1.575,9.66,-1.465), (9.55,-1.575,9.66,-1.465), (9.55,-1.575,9.66,-1.465), (9.55,-1.575,9.66,-1.465), (9.55,-1.575,9.66,-1.465), (0.59,-1.355,0.7,-1.245), (0.59,-1.355,0.7,-1.245), (0.59,-1.355,0.7,-1.245), (0.59,-1.355,0.7,-1.245), (0.59,-1.355,0.7,-1.245), (1.15,-1.355,1.26,-1.245), (1.15,-1.355,1.26,-1.245), (1.15,-1.355,1.26,-1.245), (1.15,-1.355,1.26,-1.245), (1.15,-1.355,1.26,-1.245), (1.71,-1.355,1.82,-1.245), (1.71,-1.355,1.82,-1.245), (1.71,-1.355,1.82,-1.245), (1.71,-1.355,1.82,-1.245), (1.71,-1.355,1.82,-1.245), (2.27,-1.355,2.38,-1.245), (2.27,-1.355,2.38,-1.245), (2.27,-1.355,2.38,-1.245), (2.27,-1.355,2.38,-1.245), (2.27,-1.355,2.38,-1.245), (2.83,-1.355,2.94,-1.245), (2.83,-1.355,2.94,-1.245), (2.83,-1.355,2.94,-1.245), (2.83,-1.355,2.94,-1.245), (2.83,-1.355,2.94,-1.245), (3.39,-1.355,3.5,-1.245), (3.39,-1.355,3.5,-1.245), (3.39,-1.355,3.5,-1.245), (3.39,-1.355,3.5,-1.245), (3.39,-1.355,3.5,-1.245), (3.95,-1.355,4.06,-1.245), (3.95,-1.355,4.06,-1.245), (3.95,-1.355,4.06,-1.245), (3.95,-1.355,4.06,-1.245), (3.95,-1.355,4.06,-1.245), (4.51,-1.355,4.62,-1.245), (4.51,-1.355,4.62,-1.245), (4.51,-1.355,4.62,-1.245), (4.51,-1.355,4.62,-1.245), (4.51,-1.355,4.62,-1.245), (5.07,-1.355,5.18,-1.245), (5.07,-1.355,5.18,-1.245), (5.07,-1.355,5.18,-1.245), (5.07,-1.355,5.18,-1.245), (5.07,-1.355,5.18,-1.245), (5.63,-1.355,5.74,-1.245), (5.63,-1.355,5.74,-1.245), (5.63,-1.355,5.74,-1.245), (5.63,-1.355,5.74,-1.245), (5.63,-1.355,5.74,-1.245), (6.19,-1.355,6.3,-1.245), (6.19,-1.355,6.3,-1.245), (6.19,-1.355,6.3,-1.245), (6.19,-1.355,6.3,-1.245), (6.19,-1.355,6.3,-1.245), (6.75,-1.355,6.86,-1.245), (6.75,-1.355,6.86,-1.245), (6.75,-1.355,6.86,-1.245), (6.75,-1.355,6.86,-1.245), (6.75,-1.355,6.86,-1.245), (7.31,-1.355,7.42,-1.245), (7.31,-1.355,7.42,-1.245), (7.31,-1.355,7.42,-1.245), (7.31,-1.355,7.42,-1.245), (7.31,-1.355,7.42,-1.245), (7.87,-1.355,7.98,-1.245), (7.87,-1.355,7.98,-1.245), (7.87,-1.355,7.98,-1.245), (7.87,-1.355,7.98,-1.245), (7.87,-1.355,7.98,-1.245), (8.43,-1.355,8.54,-1.245), (8.43,-1.355,8.54,-1.245), (8.43,-1.355,8.54,-1.245), (8.43,-1.355,8.54,-1.245), (8.43,-1.355,8.54,-1.245), (8.99,-1.355,9.1,-1.245), (8.99,-1.355,9.1,-1.245), (8.99,-1.355,9.1,-1.245), (8.99,-1.355,9.1,-1.245), (8.99,-1.355,9.1,-1.245), (9.55,-1.355,9.66,-1.245), (9.55,-1.355,9.66,-1.245), (9.55,-1.355,9.66,-1.245), (9.55,-1.355,9.66,-1.245), (9.55,-1.355,9.66,-1.245), (0.59,-1.135,0.7,-1.025), (0.59,-1.135,0.7,-1.025), (0.59,-1.135,0.7,-1.025), (0.59,-1.135,0.7,-1.025), (0.59,-1.135,0.7,-1.025), (1.15,-1.135,1.26,-1.025), (1.15,-1.135,1.26,-1.025), (1.15,-1.135,1.26,-1.025), (1.15,-1.135,1.26,-1.025), (1.15,-1.135,1.26,-1.025), (1.71,-1.135,1.82,-1.025), (1.71,-1.135,1.82,-1.025), (1.71,-1.135,1.82,-1.025), (1.71,-1.135,1.82,-1.025), (1.71,-1.135,1.82,-1.025), (2.27,-1.135,2.38,-1.025), (2.27,-1.135,2.38,-1.025), (2.27,-1.135,2.38,-1.025), (2.27,-1.135,2.38,-1.025), (2.27,-1.135,2.38,-1.025), (2.83,-1.135,2.94,-1.025), (2.83,-1.135,2.94,-1.025), (2.83,-1.135,2.94,-1.025), (2.83,-1.135,2.94,-1.025), (2.83,-1.135,2.94,-1.025), (3.39,-1.135,3.5,-1.025), (3.39,-1.135,3.5,-1.025), (3.39,-1.135,3.5,-1.025), (3.39,-1.135,3.5,-1.025), (3.39,-1.135,3.5,-1.025), (3.95,-1.135,4.06,-1.025), (3.95,-1.135,4.06,-1.025), (3.95,-1.135,4.06,-1.025), (3.95,-1.135,4.06,-1.025), (3.95,-1.135,4.06,-1.025), (4.51,-1.135,4.62,-1.025), (4.51,-1.135,4.62,-1.025), (4.51,-1.135,4.62,-1.025), (4.51,-1.135,4.62,-1.025), (4.51,-1.135,4.62,-1.025), (5.07,-1.135,5.18,-1.025), (5.07,-1.135,5.18,-1.025), (5.07,-1.135,5.18,-1.025), (5.07,-1.135,5.18,-1.025), (5.07,-1.135,5.18,-1.025), (5.63,-1.135,5.74,-1.025), (5.63,-1.135,5.74,-1.025), (5.63,-1.135,5.74,-1.025), (5.63,-1.135,5.74,-1.025), (5.63,-1.135,5.74,-1.025), (6.19,-1.135,6.3,-1.025), (6.19,-1.135,6.3,-1.025), (6.19,-1.135,6.3,-1.025), (6.19,-1.135,6.3,-1.025), (6.19,-1.135,6.3,-1.025), (6.75,-1.135,6.86,-1.025), (6.75,-1.135,6.86,-1.025), (6.75,-1.135,6.86,-1.025), (6.75,-1.135,6.86,-1.025), (6.75,-1.135,6.86,-1.025), (7.31,-1.135,7.42,-1.025), (7.31,-1.135,7.42,-1.025), (7.31,-1.135,7.42,-1.025), (7.31,-1.135,7.42,-1.025), (7.31,-1.135,7.42,-1.025), (7.87,-1.135,7.98,-1.025), (7.87,-1.135,7.98,-1.025), (7.87,-1.135,7.98,-1.025), (7.87,-1.135,7.98,-1.025), (7.87,-1.135,7.98,-1.025), (8.43,-1.135,8.54,-1.025), (8.43,-1.135,8.54,-1.025), (8.43,-1.135,8.54,-1.025), (8.43,-1.135,8.54,-1.025), (8.43,-1.135,8.54,-1.025), (8.99,-1.135,9.1,-1.025), (8.99,-1.135,9.1,-1.025), (8.99,-1.135,9.1,-1.025), (8.99,-1.135,9.1,-1.025), (8.99,-1.135,9.1,-1.025), (9.55,-1.135,9.66,-1.025), (9.55,-1.135,9.66,-1.025), (9.55,-1.135,9.66,-1.025), (9.55,-1.135,9.66,-1.025), (9.55,-1.135,9.66,-1.025), (0.59,-0.915,0.7,-0.805), (0.59,-0.915,0.7,-0.805), (0.59,-0.915,0.7,-0.805), (0.59,-0.915,0.7,-0.805), (0.59,-0.915,0.7,-0.805), (1.15,-0.915,1.26,-0.805), (1.15,-0.915,1.26,-0.805), (1.15,-0.915,1.26,-0.805), (1.15,-0.915,1.26,-0.805), (1.15,-0.915,1.26,-0.805), (1.71,-0.915,1.82,-0.805), (1.71,-0.915,1.82,-0.805), (1.71,-0.915,1.82,-0.805), (1.71,-0.915,1.82,-0.805), (1.71,-0.915,1.82,-0.805), (2.27,-0.915,2.38,-0.805), (2.27,-0.915,2.38,-0.805), (2.27,-0.915,2.38,-0.805), (2.27,-0.915,2.38,-0.805), (2.27,-0.915,2.38,-0.805), (2.83,-0.915,2.94,-0.805), (2.83,-0.915,2.94,-0.805), (2.83,-0.915,2.94,-0.805), (2.83,-0.915,2.94,-0.805), (2.83,-0.915,2.94,-0.805), (3.39,-0.915,3.5,-0.805), (3.39,-0.915,3.5,-0.805), (3.39,-0.915,3.5,-0.805), (3.39,-0.915,3.5,-0.805), (3.39,-0.915,3.5,-0.805), (3.95,-0.915,4.06,-0.805), (3.95,-0.915,4.06,-0.805), (3.95,-0.915,4.06,-0.805), (3.95,-0.915,4.06,-0.805), (3.95,-0.915,4.06,-0.805), (4.51,-0.915,4.62,-0.805), (4.51,-0.915,4.62,-0.805), (4.51,-0.915,4.62,-0.805), (4.51,-0.915,4.62,-0.805), (4.51,-0.915,4.62,-0.805), (5.07,-0.915,5.18,-0.805), (5.07,-0.915,5.18,-0.805), (5.07,-0.915,5.18,-0.805), (5.07,-0.915,5.18,-0.805), (5.07,-0.915,5.18,-0.805), (5.63,-0.915,5.74,-0.805), (5.63,-0.915,5.74,-0.805), (5.63,-0.915,5.74,-0.805), (5.63,-0.915,5.74,-0.805), (5.63,-0.915,5.74,-0.805), (6.19,-0.915,6.3,-0.805), (6.19,-0.915,6.3,-0.805), (6.19,-0.915,6.3,-0.805), (6.19,-0.915,6.3,-0.805), (6.19,-0.915,6.3,-0.805), (6.75,-0.915,6.86,-0.805), (6.75,-0.915,6.86,-0.805), (6.75,-0.915,6.86,-0.805), (6.75,-0.915,6.86,-0.805), (6.75,-0.915,6.86,-0.805), (7.31,-0.915,7.42,-0.805), (7.31,-0.915,7.42,-0.805), (7.31,-0.915,7.42,-0.805), (7.31,-0.915,7.42,-0.805), (7.31,-0.915,7.42,-0.805), (7.87,-0.915,7.98,-0.805), (7.87,-0.915,7.98,-0.805), (7.87,-0.915,7.98,-0.805), (7.87,-0.915,7.98,-0.805), (7.87,-0.915,7.98,-0.805), (8.43,-0.915,8.54,-0.805), (8.43,-0.915,8.54,-0.805), (8.43,-0.915,8.54,-0.805), (8.43,-0.915,8.54,-0.805), (8.43,-0.915,8.54,-0.805), (8.99,-0.915,9.1,-0.805), (8.99,-0.915,9.1,-0.805), (8.99,-0.915,9.1,-0.805), (8.99,-0.915,9.1,-0.805), (8.99,-0.915,9.1,-0.805), (9.55,-0.915,9.66,-0.805), (9.55,-0.915,9.66,-0.805), (9.55,-0.915,9.66,-0.805), (9.55,-0.915,9.66,-0.805), (9.55,-0.915,9.66,-0.805)])
A(cas_mos_dummy, L57_40, 0.12, -3.31, 0.35, 0.35, 15, 1, 0.65, 0)
A(cas_mos_dummy, L57_40, 0.585, 2.105, 0.35, 0.35, 14, 1, 0.65, 0)
A(cas_mos_dummy, L58_40, 0.32, -3.93, 0.35, 0.35, 11, 1, 0.87, 0)
A(cas_mos_dummy, L58_40, 0.46, 2.445, 0.35, 0.35, 11, 1, 0.87, 0)
R(cas_mos_dummy, L131_0, [(-0.47,-0.502,-0.26,-0.292)])
R(cas_mos_dummy, L133_0, [(10.275,-1.99,10.775,-0.39)])
R(cas_mos_dummy, L137_0, [(-1.17,-0.02,-0.87,1.02)])
R(cas_mos_dummy, L139_0, [(-0.005,-4.87,9.695,-3.87), (0.195,2.66,9.775,3.66)])
cas_mos_dummy.add(gdstk.Label('SS', (-1.17,0.5), layer=137, texttype=0))
cas_mos_dummy.add(gdstk.Label('GG', (4.985,3.66), layer=139, texttype=0))
cas_mos_dummy.add(gdstk.Label('DD', (4.845,-4.87), layer=139, texttype=0))
cas_mos_dummy.add(gdstk.Label('G2', (10.775,-1.19), layer=133, texttype=0))
cas_mos_dummy.add(gdstk.Label('GND', (-0.47,-0.397), layer=131, texttype=0))

lib.write_gds('cas_mos_dummy.gds')
